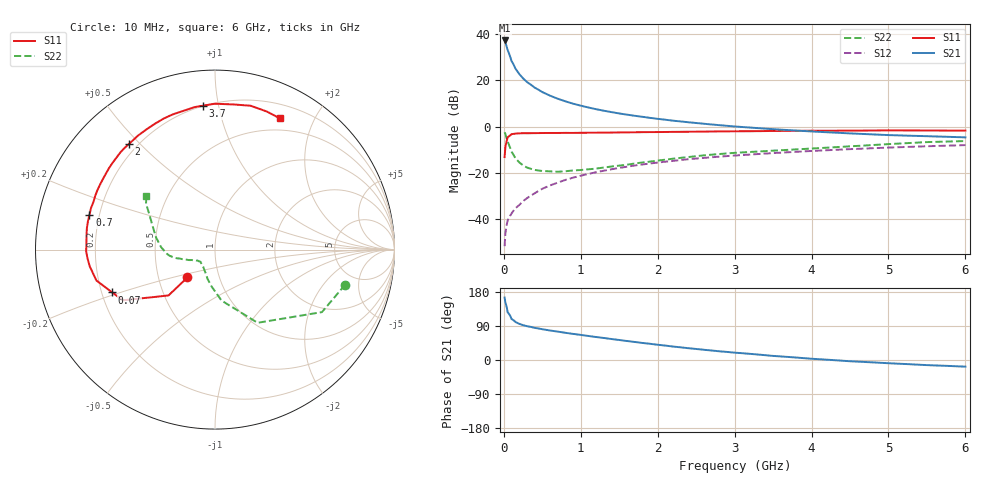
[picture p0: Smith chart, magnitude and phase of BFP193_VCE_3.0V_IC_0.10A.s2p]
! (c) 2017  Infineon Technologies AG, Munich
! Infineon Technologies  Discrete & RF Semiconductors
! BFP193
! VCE =  3.0 V,  IC = 0.10 A
! Common Emitter S-Parameters:  Jan 2017
# GHz  S  MA  R  50
!  f  S11  S21  S12  S22
! GHz  MAG  ANG  MAG  ANG  MAG  ANG  MAG  ANG
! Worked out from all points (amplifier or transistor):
!   77 points, 10 MHz to 6 GHz, reference 50 ohm
!   highest |S21| = 37.2 dB at 10 MHz (marker M1)
!   |S21| within 3 dB of that: start of sweep to 39.26 MHz
!   unconditionally stable (mu >= 1): start of sweep to 10.81 MHz; 212.3 MHz to 2.869 GHz
!   at 130 MHz: K = 0.84, MSG = 31.4 dB, |S12| = -36.2 dB
!   at 2.2 GHz: K = 1.04, MAG = 7.5 dB, |S12| = -14.8 dB
!   at 6 GHz: K = 0.99, MSG = 1.7 dB, |S12| = -8.0 dB
!   S11 on the Smith chart (normalised r, x): 10 MHz: 0.70, -0.23; 70 MHz: 0.24, -0.19; 700 MHz: 0.16, +0.13; 2 GHz: 0.17, +0.46; 3.7 GHz: 0.20, +0.90; 6 GHz: 0.36, +1.55
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0.01  0.2186 -134.7  72.33 165.0  0.0026 75.4  0.7509 -15.1
0.02  0.3636 -135.4  66.68 151.8  0.0049 66.9  0.6902 -30.3
0.05  0.5866 -151.2  44.65 125.7  0.0094 57.5  0.4717 -59.8
0.07  0.6204 -157.4  36.88 120.8  0.0109 59.4  0.391 -66.3
0.1  0.6828 -165.4  26.1 108.2  0.0132 61.5  0.2861 -82.7
0.15  0.7039 -172.3  17.97 100.4  0.0171 63.1  0.2067 -95.2
0.2  0.7123 -176.2  13.64 95.5  0.0201 66.3  0.1682 -104.3
0.25  0.7181 -179.3  10.98 91.9  0.0244 67.4  0.1448 -110.4
0.3  0.7168 178.2  9.172 89.3  0.0282 69.8  0.13 -116.6
0.4  0.7197 174.2  6.933 84.8  0.036 71.3  0.1153 -124.9
0.5  0.7238 170.5  5.553 81.2  0.0452 71.7  0.1095 -131.2
0.7  0.7255 164.6  3.989 74.9  0.0613 72.1  0.1054 -140.0
0.9  0.7273 158.6  3.114 68.9  0.0786 70.1  0.1122 -144.9
1.1  0.7342 153.1  2.574 63.4  0.0948 68.4  0.119 -149.1
1.5  0.7448 142.4  1.915 52.8  0.1274 63.5  0.143 -156.1
2  0.7589 129.3  1.466 40.2  0.1666 56.8  0.1835 -162.6
2.1  0.7619 126.7  1.401 38.0  0.1738 55.4  0.1925 -164.2
3.1  0.7902 105.4  0.976 17.9  0.2419 42.1  0.2758 -176.9
3.7  0.8045 94.9  0.837 8.0  0.2781 34.7  0.3135 173.6
4.1  0.8121 88.6  0.767 2.1  0.3017 29.8  0.3415 166.4
5.1  0.8241 74.8  0.646 -9.5  0.3554 17.6  0.4251 150.5
6  0.8157 63.7  0.583 -17.5  0.3968 7.2  0.4855 142.1
